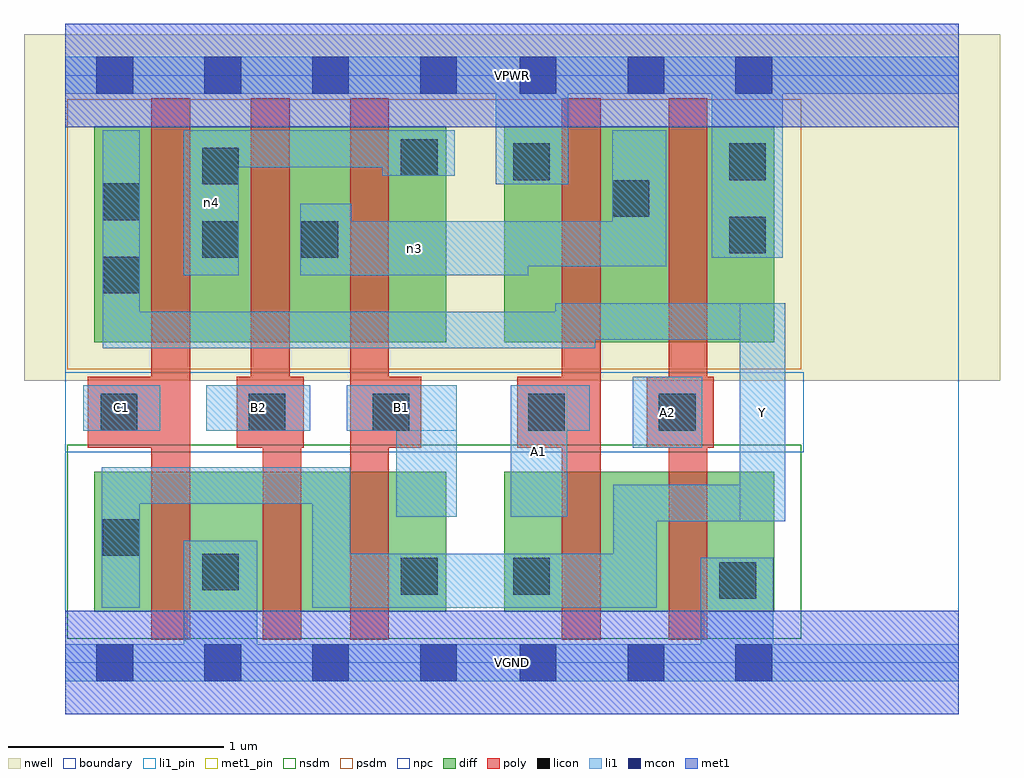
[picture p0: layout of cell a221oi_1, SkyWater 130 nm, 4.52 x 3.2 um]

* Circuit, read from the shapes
.subckt a221oi_1 A1 A2 B1 B2 C1 VGND VPWR Y n3 n4
XM1 VGND C1 Y VSUBS sky130_fd_pr__nfet_01v8 w=0.65 l=0.18
XM2 n1 B2 VGND VSUBS sky130_fd_pr__nfet_01v8 w=0.65 l=0.18
XM3 Y B1 n1 VSUBS sky130_fd_pr__nfet_01v8 w=0.65 l=0.18
XM4 n2 A1 Y VSUBS sky130_fd_pr__nfet_01v8 w=0.65 l=0.18
XM5 VGND A2 n2 VSUBS sky130_fd_pr__nfet_01v8 w=0.65 l=0.18
XM6 n4 C1 Y n5 sky130_fd_pr__pfet_01v8 w=1 l=0.18
XM7 n3 B2 n4 n5 sky130_fd_pr__pfet_01v8 w=1 l=0.18
XM8 n4 B1 n3 n5 sky130_fd_pr__pfet_01v8 w=1 l=0.18
XM9 n3 A1 VPWR n5 sky130_fd_pr__pfet_01v8 w=1 l=0.18
XM10 VPWR A2 n3 n5 sky130_fd_pr__pfet_01v8 w=1 l=0.18
.ends

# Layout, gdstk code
import gdstk
lib = gdstk.Library(unit=1e-6, precision=1e-09)
def R(c, l, rs):  # rectangles x0, y0, x1, y1
    for r in rs: c.add(gdstk.rectangle(r[:2], r[2:], *l))
def A(c, l, x, y, w, h, nx, ny, dx, dy):  # array of equal rectangles
    R(c, l, [(x+i*dx, y+j*dy, x+i*dx+w, y+j*dy+h) for i in range(nx) for j in range(ny)])
nwell = (64, 20)
diff = (65, 20)
poly = (66, 20)
licon = (66, 44)
li1_pin = (67, 16)
li1 = (67, 20)
mcon = (67, 44)
met1_pin = (68, 16)
met1 = (68, 20)
nsdm = (93, 44)
psdm = (94, 20)
npc = (95, 20)
boundary = (235, 4)

a221oi_1 = lib.new_cell('a221oi_1')
R(a221oi_1, nwell, [(-0.19,1.305,4.33,2.91), (0,1.305,4.14,2.91)])
R(a221oi_1, diff, [(0.135,0.235,1.765,0.885), (2.035,0.235,3.285,0.885), (0.135,1.485,1.765,2.485), (2.035,1.485,3.285,2.485)])
R(a221oi_1, poly, [(0.4,0.105,0.58,2.615), (0.915,0.105,1.095,1.325), (1.32,0.105,1.5,2.615), (2.3,0.105,2.48,2.615), (2.795,0.105,2.975,2.615), (0.105,0.995,0.58,1.325), (0.795,0.995,1.105,1.325), (0.86,0.995,1.04,2.615), (1.32,0.995,1.65,1.325), (2.095,0.995,2.48,1.325), (2.695,0.995,3.005,1.325)])
R(a221oi_1, licon, [(3.03,0.295,3.2,0.465), (1.555,0.315,1.725,0.485), (2.075,0.315,2.245,0.485), (0.635,0.335,0.805,0.505), (0.175,0.495,0.345,0.665), (0.165,1.075,0.335,1.245), (0.85,1.075,1.02,1.245), (1.425,1.075,1.595,1.245), (2.145,1.075,2.315,1.245), (2.75,1.075,2.92,1.245), (0.175,1.71,0.345,1.88), (0.635,1.875,0.805,2.045), (1.095,1.875,1.265,2.045), (3.075,1.895,3.245,2.065), (0.175,2.05,0.345,2.22), (2.535,2.065,2.705,2.235), (0.635,2.215,0.805,2.385), (2.075,2.235,2.245,2.405), (3.075,2.235,3.245,2.405), (1.555,2.255,1.725,2.425)])
R(a221oi_1, li1_pin, [(3.125,0.655,3.335,1.665), (2.065,0.675,2.325,1.285), (2.63,0.995,2.95,1.325), (0.085,1.075,0.44,1.285), (0.655,1.075,1.135,1.285), (1.305,1.075,1.815,1.285)])
R(a221oi_1, li1, [(0,-0.085,4.14,0.085), (0.55,-0.085,0.89,0.565), (2.945,-0.085,3.28,0.485), (0.17,0.255,0.345,0.905), (1.145,0.255,1.32,0.905), (1.145,0.255,2.74,0.505), (2.54,0.255,2.74,0.825), (2.54,0.655,3.335,0.825), (3.125,0.655,3.335,1.665), (1.535,0.675,1.815,1.285), (2.065,0.675,2.325,1.285), (0.17,0.735,1.32,0.905), (2.63,0.995,2.95,1.325), (0.085,1.075,0.44,1.285), (0.655,1.075,1.135,1.285), (1.305,1.075,1.815,1.285), (2.065,1.075,2.43,1.285), (0.175,1.455,2.455,1.625), (0.175,1.455,0.345,2.465), (2.27,1.495,3.335,1.665), (0.55,1.795,0.805,2.465), (1.09,1.795,2.145,2.045), (1.09,1.795,1.325,2.125), (1.09,1.835,2.785,2.045), (2.535,1.835,2.785,2.465), (2.995,1.875,3.325,2.805), (1.995,2.215,2.33,2.805), (1.47,2.255,1.805,2.465), (0.55,2.295,1.805,2.465), (0,2.635,4.14,2.805)])
A(a221oi_1, mcon, 0.145, -0.085, 0.17, 0.17, 4, 2, 0.5, 2.72)
A(a221oi_1, mcon, 2.105, -0.085, 0.17, 0.17, 3, 2, 0.5, 2.72)
R(a221oi_1, met1_pin, [(0,-0.24,4.14,0.24), (0,2.48,4.14,2.96)])
R(a221oi_1, met1, [(0,-0.24,4.14,0.24), (0,2.48,4.14,2.96)])
R(a221oi_1, nsdm, [(0.01,0.11,3.41,1.01)])
R(a221oi_1, psdm, [(0.01,1.36,3.41,2.61)])
R(a221oi_1, npc, [(0,0.975,3.42,1.345)])
R(a221oi_1, boundary, [(0,0,4.14,2.72)])
a221oi_1.add(gdstk.Label('A1', (2.195,0.98), layer=67, texttype=5))
a221oi_1.add(gdstk.Label('A2', (2.79,1.16), layer=67, texttype=5))
a221oi_1.add(gdstk.Label('B1', (1.56,1.18), layer=67, texttype=5))
a221oi_1.add(gdstk.Label('B2', (0.895,1.18), layer=67, texttype=5))
a221oi_1.add(gdstk.Label('C1', (0.262,1.18), layer=67, texttype=5))
a221oi_1.add(gdstk.Label('Y', (3.23,1.16), layer=67, texttype=5))
a221oi_1.add(gdstk.Label('n4', (0.677,2.13), layer=67, texttype=5))
a221oi_1.add(gdstk.Label('n3', (1.617,1.92), layer=67, texttype=5))
a221oi_1.add(gdstk.Label('VPWR', (2.07,2.72), layer=68, texttype=5))
a221oi_1.add(gdstk.Label('VGND', (2.07,0), layer=68, texttype=5))
a221oi_1.add(gdstk.Label('A1', (2.195,0.98), layer=67, texttype=16))
a221oi_1.add(gdstk.Label('A2', (2.79,1.16), layer=67, texttype=16))
a221oi_1.add(gdstk.Label('B1', (1.56,1.18), layer=67, texttype=16))
a221oi_1.add(gdstk.Label('B2', (0.895,1.18), layer=67, texttype=16))
a221oi_1.add(gdstk.Label('C1', (0.262,1.18), layer=67, texttype=16))
a221oi_1.add(gdstk.Label('Y', (3.23,1.16), layer=67, texttype=16))
a221oi_1.add(gdstk.Label('VPWR', (2.07,2.72), layer=68, texttype=16))
a221oi_1.add(gdstk.Label('VGND', (2.07,0), layer=68, texttype=16))

lib.write_gds('a221oi_1.gds')
